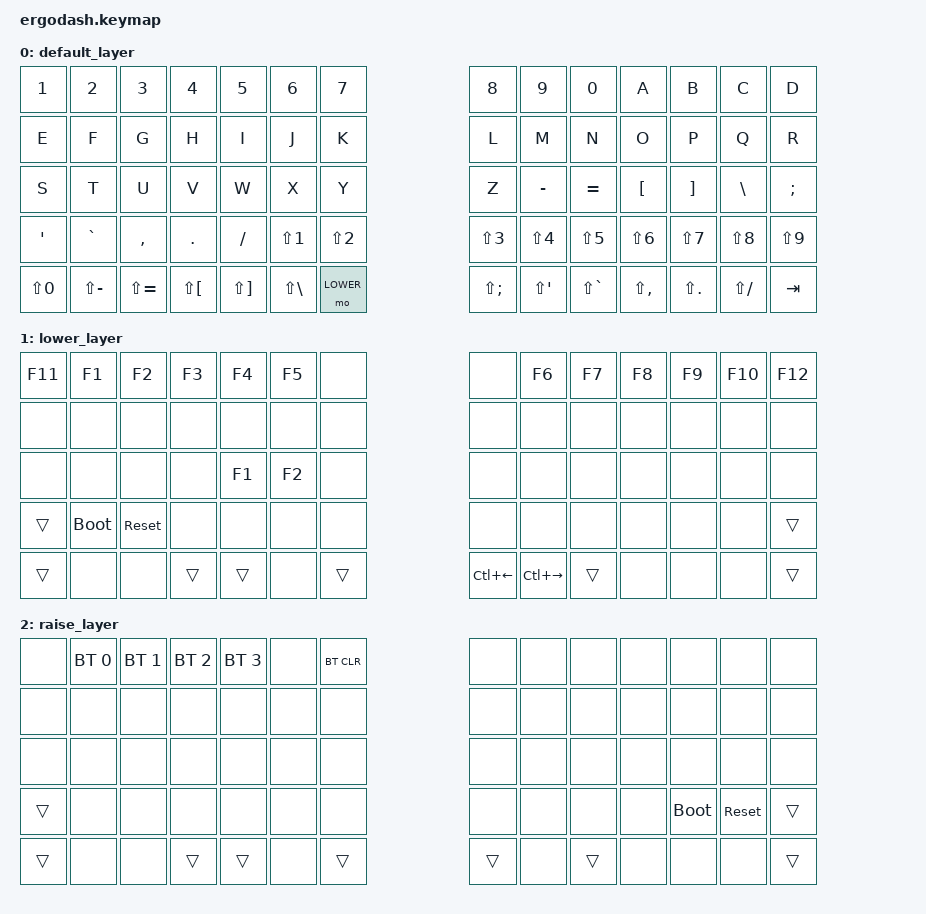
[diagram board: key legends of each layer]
/*
 * TEST KEYMAP — for identifying key positions in Keymap Editor
 *
 * Press each physical key in a text editor and note the character it outputs.
 * Find that character in the chart below — that's the matching box in the UI.
 * The LOWER key does not output a character (it activates the LOWER layer).
 * Use LOWER+Z for left half bootloader, LOWER+bootloader key for right half.
 *
 * .-----------------------------------------------------------------------.
 * | 1  | 2  | 3  | 4  | 5  | 6  | 7  | 8  | 9  | 0  | a  | b  | c  | d  |
 * | e  | f  | g  | h  | i  | j  | k  | l  | m  | n  | o  | p  | q  | r  |
 * | s  | t  | u  | v  | w  | x  | y  | z  | -  | =  | [  | ]  | \  | ;  |
 * | '  | `  | ,  | .  | /  | !  | @  | #  | $  | %  | ^  | &  | *  | (  |
 * | )  | _  | +  | {  | }  | |  |LWR | :  | "  | ~  | <  | >  | ?  |TAB |
 * .-----------------------------------------------------------------------.
 */

#include <behaviors.dtsi>
#include <dt-bindings/zmk/bt.h>
#include <dt-bindings/zmk/keys.h>

#define DEFAULT 0
#define LOWER   1
#define RAISE   2

/ {
    keymap {
        compatible = "zmk,keymap";

        default_layer {
            bindings = <
&kp N1        &kp N2        &kp N3        &kp N4        &kp N5        &kp N6        &kp N7                                     &kp N8        &kp N9        &kp N0        &kp A         &kp B         &kp C         &kp D
&kp E         &kp F         &kp G         &kp H         &kp I         &kp J         &kp K                                      &kp L         &kp M         &kp N         &kp O         &kp P         &kp Q         &kp R
&kp S         &kp T         &kp U         &kp V         &kp W         &kp X         &kp Y                                      &kp Z         &kp MINUS     &kp EQUAL     &kp LBKT      &kp RBKT      &kp BSLH      &kp SEMI
&kp SQT       &kp GRAVE     &kp COMMA     &kp DOT       &kp SLASH     &kp LS(N1)                   &kp LS(N2)   &kp LS(N3)                   &kp LS(N4)    &kp LS(N5)    &kp LS(N6)    &kp LS(N7)    &kp LS(N8)    &kp LS(N9)
&kp LS(N0)    &kp LS(MINUS) &kp LS(EQUAL) &kp LS(LBKT)  &kp LS(RBKT)               &kp LS(BSLH)  &mo LOWER    &kp LS(SEMI)  &kp LS(SQT)                  &kp LS(GRAVE) &kp LS(COMMA) &kp LS(DOT)   &kp LS(SLASH) &kp TAB
            >;
        };

        lower_layer {
            bindings = <
&kp F11  &kp F1       &kp F2      &kp F3  &kp F4  &kp F5  &none                        &none          &kp F6  &kp F7  &kp F8  &kp F9  &kp F10  &kp F12
&none    &none        &none       &none   &none   &none   &none                        &none          &none   &none   &none   &none   &none    &none
&none    &none        &none       &none   &kp F1  &kp F2  &none                        &none          &none   &none   &none   &none   &none    &none
&trans   &bootloader  &sys_reset  &none   &none   &none          &none   &none                        &none   &none   &none   &none   &none    &trans
&trans   &none        &none       &trans  &trans          &none  &trans  &kp LC(LEFT)  &kp LC(RIGHT)          &trans  &none   &none   &none    &trans
            >;
        };

        raise_layer {
            bindings = <
&none   &bt BT_SEL 0  &bt BT_SEL 1  &bt BT_SEL 2  &bt BT_SEL 3  &none  &bt BT_CLR                  &none  &none  &none   &none  &none        &none       &none
&none   &none         &none         &none         &none         &none  &none                       &none  &none  &none   &none  &none        &none       &none
&none   &none         &none         &none         &none         &none  &none                       &none  &none  &none   &none  &none        &none       &none
&trans  &none         &none         &none         &none         &none              &none   &none          &none  &none   &none  &bootloader  &sys_reset  &trans
&trans  &none         &none         &trans        &trans               &none       &trans  &trans  &none         &trans  &none  &none        &none       &trans
            >;
        };
    };
};
